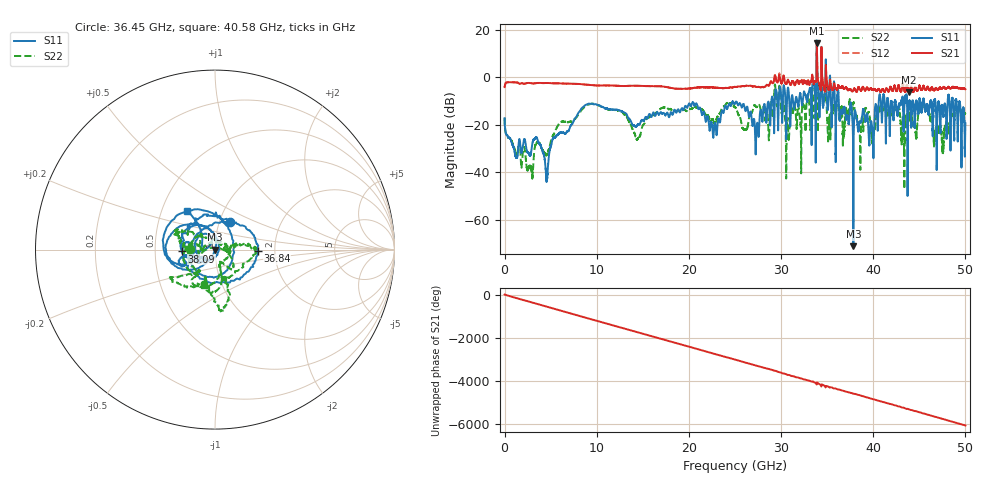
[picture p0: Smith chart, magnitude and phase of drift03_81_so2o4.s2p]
!Created with skrf (http://scikit-rf.org).
# Hz S RI R 50.0
!freq ReS11 ImS11 ReS21 ImS21 ReS12 ImS12 ReS22 ImS22
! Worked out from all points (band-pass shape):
!   10001 points, 300 kHz to 50 GHz, reference 50 ohm
!   highest |S21| = 14.58 dB at 33.88 GHz (marker M1); lowest = -6.3 dB at 43.91 GHz (marker M2)
!   |S21| within 3 dB of the highest: 33.86898 GHz to 33.88808 GHz (19.11 MHz wide, 0.0564 % of centre); 34.37749 GHz to 34.38828 GHz (10.79 MHz wide, 0.0314 % of centre)
!   lowest |S11| = -71.2 dB at 37.85 GHz (marker M3), VSWR 1.00, Z = 50 + j0.0142 ohm
!   |S11| at or under -10 dB: start of sweep to 28.94 GHz; 36.26 GHz to 40.6 GHz (4.337 GHz wide, 11.3 % of centre); 46.74 GHz to 48.08 GHz (1.339 GHz wide, 2.82 % of centre) (the widest 3 of 57)
!   |S22| runs from -47.1 to 11.5 dB; largest |S21 - S12| = 0.81
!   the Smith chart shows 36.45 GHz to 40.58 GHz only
!   S11 on the Smith chart (normalised r, x): 36.45 GHz: 1.13, +0.36; 36.84 GHz: 1.62, -0.03; 38.09 GHz: 0.69, -0.01; 40.58 GHz: 0.67, +0.31
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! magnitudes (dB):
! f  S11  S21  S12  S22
! 300 kHz  -17.3  -4.0  -4.1  -17.0
! 2.82 GHz  -32.7  -2.4  -2.4  -37.7
! 4.555 GHz  -44.1  -2.3  -2.3  -32.4
! 8.335 GHz  -13.1  -2.8  -2.8  -13.9
! 14.45 GHz  -19.9  -3.5  -3.5  -25.8
! 16.67 GHz  -15.4  -3.7  -3.7  -14.3
! 22.82 GHz  -19.3  -4.3  -4.3  -19.2
! 25 GHz  -11.0  -4.0  -4.0  -12.5
! 26.09 GHz  -13.7  -3.6  -3.6  -21.8
! 27.39 GHz  -19.5  -4.1  -4.1  -12.4
! 29.6 GHz  -10.4  -2.0  -2.1  -11.7
! 30.7 GHz  -5.5  -1.3  -1.4  -17.1
! 33.34 GHz  -14.1  -0.4  -0.5  -7.0
! 33.88 GHz  15.6  14.6  14.1  11.5
! 36.45 GHz  -15.1  -4.4  -4.3  -17.0
! 36.84 GHz  -12.5  -4.7  -4.7  -23.2
! 37.85 GHz  -71.2  -5.4  -5.4  -10.9
! 38.09 GHz  -14.7  -5.6  -5.5  -16.7
! 40.58 GHz  -11.6  -4.9  -5.0  -13.7
! 41.67 GHz  -12.1  -5.9  -5.9  -15.2
! 43.91 GHz  -9.8  -6.3  -6.2  -16.4
! 50 GHz  -19.3  -4.9  -4.9  -15.1
